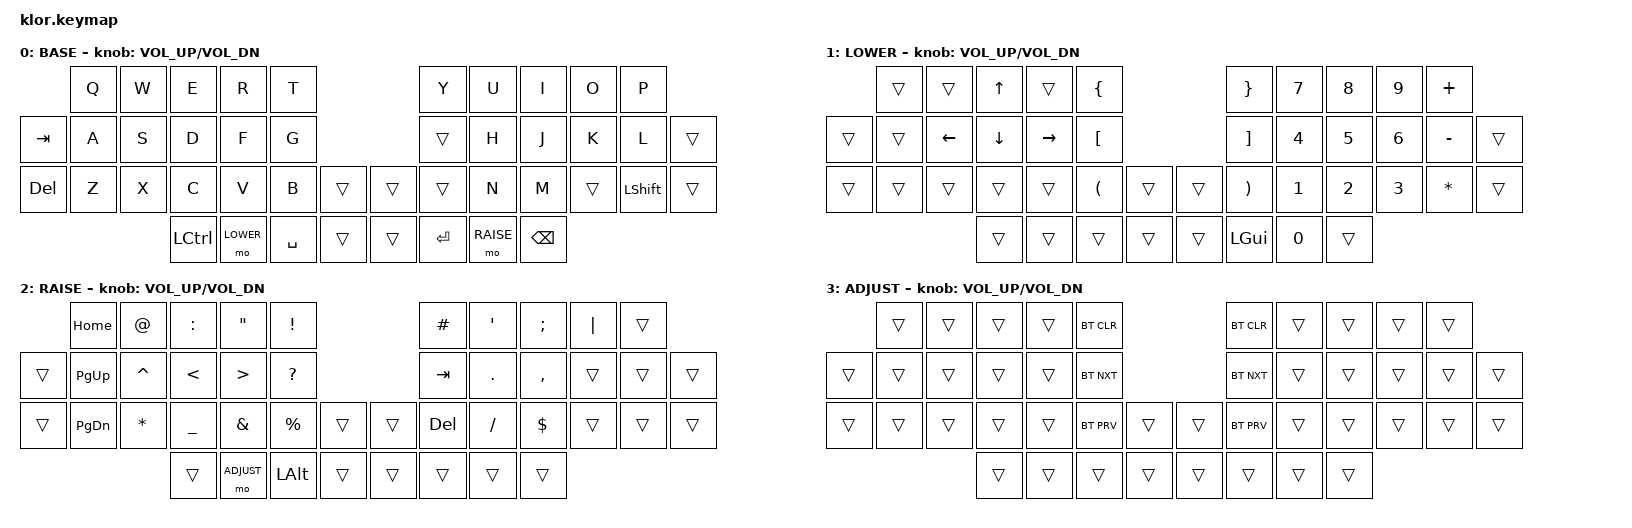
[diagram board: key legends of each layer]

//                               █         █    █            ▄▄▄▀▀▀▀▀▀▄▄▄        █▀▀▀▀▀▀▀▀▀▀█
//                               █        █     █          ▄▀            ▀▄      █          █
//                               █       █      █        ▄▀                ▀▄    █          █
//                               █      █       █        █                  █    █          █
//                               █     █        █       █                    █   █          █
//                               █    █         █       █                    █   █▄▄▄▄▄▄▄▄▄▄█
//                               █   █ █        █       █                    █   █      █
//                               █  █   █       █        █                  █    █       █
//                               █ █     █      █        ▀▄                ▄▀    █        █
//                               ██       █     █          ▀▄            ▄▀      █         █
//                               █         █    █▄▄▄▄▄▄▄▄    ▀▀▀▄▄▄▄▄▄▀▀▀        █          █
//
// ▄▄▄▄▄▄▄▄▄▄▄▄▄▄▄▄▄▄▄▄▄▄▄▄▄▄▄▄▄▄▄▄▄▄▄▄▄▄▄▄▄▄▄▄▄▄▄▄▄▄▄▄▄▄▄▄▄▄▄▄▄▄▄▄▄▄▄▄▄▄▄▄▄▄▄▄▄▄▄▄▄▄▄▄▄▄▄▄▄▄▄▄▄▄▄▄▄▄▄▄▄▄▄▄▄▄▄▄▄▄▄▄▄▄▄▄▄▄▄▄▄▄▄▄▄

/* TEMPLATE
          ┌─────────┬─────────┬─────────┬─────────┬─────────┐                    ┌─────────┬─────────┬─────────┬─────────┬─────────┐
          │         │         │         │         │         │                    │         │         │         │         │         │
┌─────────┼─────────┼─────────┼─────────┼─────────┼─────────┤                    ├─────────┼─────────┼─────────┼─────────┼─────────┼─────────┐
│         │         │         │         │         │         │                    │         │         │         │         │         │         │
├─────────┼─────────┼─────────┼─────────┼─────────┼─────────┤╭────────╮╭────────╮├─────────┼─────────┼─────────┼─────────┼─────────┼─────────┤
│         │         │         │         │         │         ││        ││        ││         │         │         │         │         │         │
└─────────┴─────────┴─────────┼─────────┼─────────┼─────────┘╰────────╯╰────────╯└─────────┼─────────┼─────────┼─────────┴─────────┴─────────┘
                              │         │         │         │         ││         │         │         │         │
                              └─────────┴─────────┴─────────┴─────────┘└─────────┴─────────┴─────────┴─────────┘
bindings = <
          &trans    &trans    &trans    &trans    &trans                         &trans    &trans    &trans    &trans    &trans
&trans    &trans    &trans    &trans    &trans    &trans                         &trans    &trans    &trans    &trans    &trans    &trans
&trans    &trans    &trans    &trans    &trans    &trans    &trans     &trans    &trans    &trans    &trans    &trans    &trans    &trans
                              &trans    &trans    &trans    &trans     &trans    &trans    &trans    &trans
>;
*/

#include <behaviors.dtsi>
#include <dt-bindings/zmk/keys.h>
#include <dt-bindings/zmk/bt.h>
#include <dt-bindings/zmk/outputs.h>
#include <dt-bindings/zmk/ext_power.h>
#include <dt-bindings/zmk/rgb.h>


#define BASE   0
#define LOWER  1
#define RAISE  2
#define ADJUST 3


/ {
    behaviors {
        hm: homerow_mods {
            compatible = "zmk,behavior-hold-tap";
            label = "HOMEROW_MODS";
            #binding-cells = <2>;
            tapping-term-ms = <150>;
            quick_tap_ms = <0>;
            flavor = "tap-preferred";
            bindings = <&kp>, <&kp>;
        };
    };

    combos {
        compatible = "zmk,combos";
        combo_esc {
            timeout-ms = <50>;
            key-positions = <0 1>;
            bindings = <&kp ESC>;
        };
    };



    keymap {
        compatible = "zmk,keymap";

        base_layer {
            label= "BASE";
            /*
                      ┌─────────┬─────────┬─────────┬─────────┬─────────┐                    ┌─────────┬─────────┬─────────┬─────────┬─────────┐
                      │    Q    │    W    │    E    │    R    │    T    │                    │    Y    │    U    │    I    │    O    │    P    │
            ┌─────────┼─────────┼─────────┼─────────┼─────────┼─────────┤                    ├─────────┼─────────┼─────────┼─────────┼─────────┼─────────┐
            │   N/C   │    A    │    S    │    D    │    F    │    G    │                    │         │    H    │    J    │    K    │    L    │   N/C   │
            ├─────────┼─────────┼─────────┼─────────┼─────────┼─────────┤╭────────╮╭────────╮├─────────┼─────────┼─────────┼─────────┼─────────┼─────────┤
            │   N/C   │    Z    │    X    │    C    │    V    │    B    ││   N/C  ││   N/C  ││         │    N    │    M    │         │  SHIFT  │   N/C   │
            └─────────┴─────────┴─────────┼─────────┼─────────┼─────────┘╰────────╯╰────────╯└─────────┼─────────┼─────────┼─────────┴─────────┴─────────┘
                                          │  CTRL   │  LOWER  │  SPACE  │   N/C   ││   N/C   │  ENTER  │  RAISE  │  BSPCE  │
                                          └─────────┴─────────┴─────────┴─────────┘└─────────┴─────────┴─────────┴─────────┘
            */
            bindings = <
                      &kp Q     &kp W     &kp E     &kp R     &kp T                          &kp Y     &kp U     &kp I     &kp O     &kp P
            &kp TAB   &kp A     &kp S     &kp D     &kp F     &kp G                          &trans    &kp H     &kp J     &kp K     &kp L     &trans
            &kp DEL   &kp Z     &kp X     &kp C     &kp V     &kp B     &trans   &trans      &trans    &kp N     &kp M     &trans   &kp LSHIFT &trans
                                          &kp LCTRL &mo LOWER &kp SPACE &trans   &trans      &kp RET   &mo RAISE &kp BSPC
            >;
            sensor-bindings = <&inc_dec_kp C_VOL_UP C_VOL_DN>;
        };

        lower_layer {
            label = "LOWER";
           /*
                      ┌─────────┬─────────┬─────────┬─────────┬─────────┐                    ┌─────────┬─────────┬─────────┬─────────┬─────────┐
                      │         │         │   UP    │         │    {    │                    │    }    │    7    │    8    │    9    │    +    │
            ┌─────────┼─────────┼─────────┼─────────┼─────────┼─────────┤                    ├─────────┼─────────┼─────────┼─────────┼─────────┼─────────┐
            │   N/C   │         │  LEFT   │   DOWN  │  RIGHT  │    [    │                    │    ]    │    4    │    5    │    6    │    -    │   N/C   │
            ├─────────┼─────────┼─────────┼─────────┼─────────┼─────────┤╭────────╮╭────────╮├─────────┼─────────┼─────────┼─────────┼─────────┼─────────┤
            │   N/C   │         │         │         │         │    (    ││   N/C  ││   N/C  ││    )    │    1    │    2    │    3    │    *    │   N/C   │
            └─────────┴─────────┴─────────┼─────────┼─────────┼─────────┘╰────────╯╰────────╯└─────────┼─────────┼─────────┼─────────┴─────────┴─────────┘
                                          │         │         │         │   N/C   ││   N/C   │   CMD   │    0    │         │
                                          └─────────┴─────────┴─────────┴─────────┘└─────────┴─────────┴─────────┴─────────┘
            */
            bindings = <
                      &trans    &trans    &kp UP    &trans     &kp LBRC                      &kp RBRC  &kp N7    &kp N8    &kp N9    &kp PLUS
            &trans    &trans    &kp LEFT  &kp DOWN  &kp RIGHT  &kp LBKT                      &kp RBKT  &kp N4    &kp N5    &kp N6    &kp MINUS &trans
            &trans    &trans    &trans    &trans    &trans     &kp LPAR    &trans  &trans    &kp RPAR  &kp N1    &kp N2    &kp N3    &kp STAR  &trans
                                          &trans    &trans     &trans      &trans  &trans    &kp LGUI  &kp N0    &trans
            >;

            sensor-bindings = <&inc_dec_kp C_VOL_UP C_VOL_DN>;
        };


        raise_layer {
            label = "RAISE";
            /*
                      ┌─────────┬─────────┬─────────┬─────────┬─────────┐                    ┌─────────┬─────────┬─────────┬─────────┬─────────┐
                      │   HOME  │    @    │    :    │    "    │    !    │                    │    #    │    '    │    ;    │    |    │         │
            ┌─────────┼─────────┼─────────┼─────────┼─────────┼─────────┤                    ├─────────┼─────────┼─────────┼─────────┼─────────┼─────────┐
            │   N/C   │  PG_UP  │    ^    │    <    │    >    │    ?    │                    │   TAB   │    .    │    ,    │         │         │   N/C   │
            ├─────────┼─────────┼─────────┼─────────┼─────────┼─────────┤╭────────╮╭────────╮├─────────┼─────────┼─────────┼─────────┼─────────┼─────────┤
            │   N/C   │  PG_DN  │    *    │    _    │    &    │    %    ││   N/C  ││   N/C  ││   DEL   │    /    │    $    │         │         │   N/C   │
            └─────────┴─────────┴─────────┼─────────┼─────────┼─────────┘╰────────╯╰────────╯└─────────┼─────────┼─────────┼─────────┴─────────┴─────────┘
                                          │         │ ADJUST  │   ALT   │   N/C   ││   N/C   │         │         │         │
                                          └─────────┴─────────┴─────────┴─────────┘└─────────┴─────────┴─────────┴─────────┘
            */
            bindings = <
                      &kp HOME  &kp AT    &kp COLON &kp DQT   &kp EXCL                       &kp HASH  &kp SQT   &kp SEMI  &kp PIPE  &trans
            &trans    &kp PG_UP &kp CARET &kp LT    &kp GT    &kp QMARK                      &kp TAB   &kp DOT   &kp COMMA &trans    &trans    &trans
            &trans    &kp PG_DN &kp STAR  &kp UNDER &kp AMPS  &kp PRCNT   &trans  &trans     &kp DEL   &kp FSLH  &kp DLLR  &trans    &trans    &trans
                                          &trans   &mo ADJUST &kp LALT    &trans  &trans     &trans    &trans    &trans
            >;

            sensor-bindings = <&inc_dec_kp C_VOL_UP C_VOL_DN>;
        };

        adjust_layer {
            label = "ADJUST";
            /*
                      ┌─────────┬─────────┬─────────┬─────────┬─────────┐                    ┌─────────┬─────────┬─────────┬─────────┬─────────┐
                      │         │         │         │         │ BT CLR  │                    │ BT CLR  │         │         │         │         │
            ┌─────────┼─────────┼─────────┼─────────┼─────────┼─────────┤                    ├─────────┼─────────┼─────────┼─────────┼─────────┼─────────┐
            │   N/C   │         │         │         │         │ BT NXT  │                    │ BT NXT  │         │         │         │         │   N/C   │
            ├─────────┼─────────┼─────────┼─────────┼─────────┼─────────┤╭────────╮╭────────╮├─────────┼─────────┼─────────┼─────────┼─────────┼─────────┤
            │   N/C   │         │         │         │         │ BT PRV  ││   N/C  ││   N/C  ││ BT PRV  │         │         │         │         │   N/C   │
            └─────────┴─────────┴─────────┼─────────┼─────────┼─────────┘╰────────╯╰────────╯└─────────┼─────────┼─────────┼─────────┴─────────┴─────────┘
                                          │         │         │         │   N/C   ││   N/C   │         │         │         │
                                          └─────────┴─────────┴─────────┴─────────┘└─────────┴─────────┴─────────┴─────────┘
            */
            bindings = <
                      &trans    &trans    &trans    &trans   &bt BT_CLR                     &bt BT_CLR &trans    &trans    &trans    &trans
            &trans    &trans    &trans    &trans    &trans   &bt BT_NXT                     &bt BT_NXT &trans    &trans    &trans    &trans    &trans
            &trans    &trans    &trans    &trans    &trans   &bt BT_PRV &trans     &trans   &bt BT_PRV &trans    &trans    &trans    &trans    &trans
                                          &trans    &trans     &trans   &trans     &trans    &trans    &trans    &trans
            >;

            sensor-bindings = <&inc_dec_kp C_VOL_UP C_VOL_DN>;
        };
    };
};
